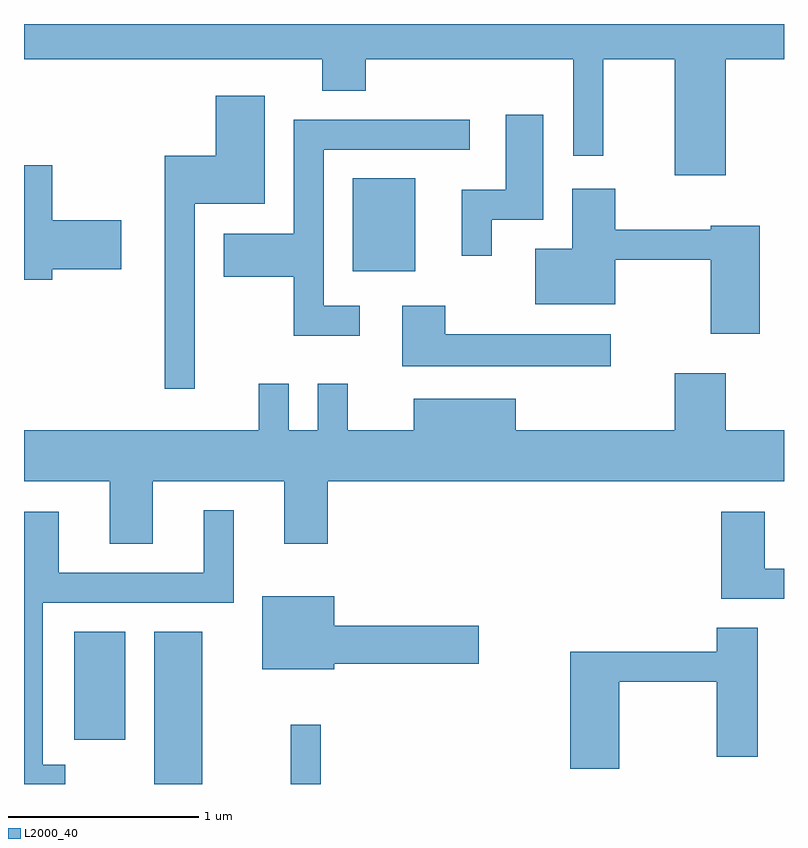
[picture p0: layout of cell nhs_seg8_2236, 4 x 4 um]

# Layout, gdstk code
import gdstk
lib = gdstk.Library(unit=1e-6, precision=1e-09)
def R(c, l, rs):  # rectangles x0, y0, x1, y1
    for r in rs: c.add(gdstk.rectangle(r[:2], r[2:], *l))
def P(c, l, *ps):  # polygons
    for p in ps: c.add(gdstk.Polygon(p, *l))
L2000_40 = (2000, 40)

nhs_seg8_2236 = lib.new_cell('nhs_seg8_2236')
R(nhs_seg8_2236, L2000_40, [(252.296,1870.342,252.549,1871.144), (253.016,1870.342,253.174,1870.653), (251.876,1870.576,252.144,1871.144), (253.341,1873.041,253.669,1873.529)])
P(nhs_seg8_2236, L2000_40, [(255.304,1874.156),(255.611,1874.156),(255.611,1874.342),(251.611,1874.342),(251.611,1874.156),(253.181,1874.156),(253.181,1873.991),(253.409,1873.991),(253.409,1874.156),(254.501,1874.156),(254.501,1873.648),(254.659,1873.648),(254.659,1874.156),(255.036,1874.156),(255.036,1873.546),(255.304,1873.546)],
  [(252.509,1873.396),(252.879,1873.396),(252.879,1873.964),(252.621,1873.964),(252.621,1873.649),(252.351,1873.649),(252.351,1872.423),(252.509,1872.423)],
  [(254.074,1873.311),(254.344,1873.311),(254.344,1873.864),(254.146,1873.864),(254.146,1873.469),(253.916,1873.469),(253.916,1873.123),(254.074,1873.123)],
  [(253.378,1872.859),(253.189,1872.859),(253.189,1873.681),(253.958,1873.681),(253.958,1873.839),(253.031,1873.839),(253.031,1873.239),(252.661,1873.239),(252.661,1873.011),(253.031,1873.011),(253.031,1872.701),(253.378,1872.701)],
  [(251.759,1873.051),(252.124,1873.051),(252.124,1873.309),(251.759,1873.309),(251.759,1873.599),(251.611,1873.599),(251.611,1872.996),(251.759,1872.996)],
  [(255.484,1873.279),(255.226,1873.279),(255.226,1873.259),(254.724,1873.259),(254.724,1873.474),(254.496,1873.474),(254.496,1873.159),(254.301,1873.159),(254.301,1872.866),(254.724,1872.866),(254.724,1873.101),(255.226,1873.101),(255.226,1872.711),(255.484,1872.711)],
  [(254.698,1872.709),(253.829,1872.709),(253.829,1872.859),(253.601,1872.859),(253.601,1872.541),(254.698,1872.541)],
  [(252.289,1871.936),(252.981,1871.936),(252.981,1871.606),(253.209,1871.606),(253.209,1871.936),(255.611,1871.936),(255.611,1872.204),(255.304,1872.204),(255.304,1872.504),(255.036,1872.504),(255.036,1872.204),(254.199,1872.204),(254.199,1872.369),(253.661,1872.369),(253.661,1872.204),(253.314,1872.204),(253.314,1872.448),(253.156,1872.448),(253.156,1872.204),(253.004,1872.204),(253.004,1872.448),(252.846,1872.448),(252.846,1872.204),(251.611,1872.204),(251.611,1871.936),(252.061,1871.936),(252.061,1871.606),(252.289,1871.606)],
  [(251.829,1870.444),(251.709,1870.444),(251.709,1871.296),(252.714,1871.296),(252.714,1871.783),(252.556,1871.783),(252.556,1871.454),(251.794,1871.454),(251.794,1871.774),(251.611,1871.774),(251.611,1870.342),(251.829,1870.342)],
  [(255.611,1871.474),(255.509,1871.474),(255.509,1871.774),(255.281,1871.774),(255.281,1871.316),(255.611,1871.316)],
  [(253.244,1870.976),(254.004,1870.976),(254.004,1871.174),(253.244,1871.174),(253.244,1871.329),(252.866,1871.329),(252.866,1870.946),(253.244,1870.946)],
  [(254.744,1870.881),(255.256,1870.881),(255.256,1870.486),(255.474,1870.486),(255.474,1871.164),(255.256,1871.164),(255.256,1871.039),(254.486,1871.039),(254.486,1870.421),(254.744,1870.421)])

lib.write_gds('nhs_seg8_2236.gds')
